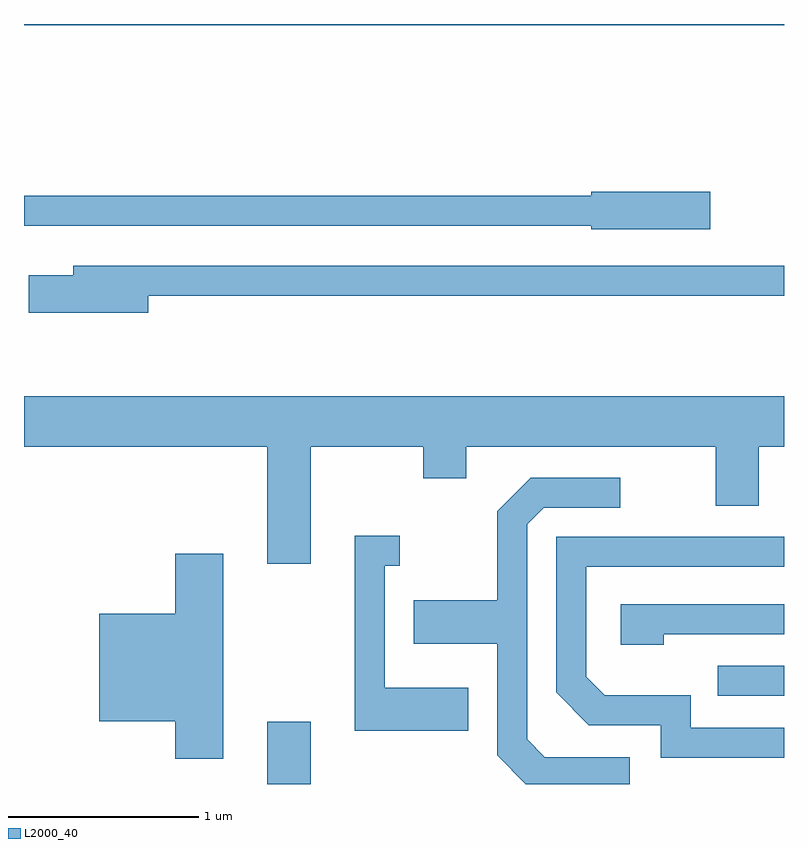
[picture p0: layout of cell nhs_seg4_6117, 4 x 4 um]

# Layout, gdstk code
import gdstk
lib = gdstk.Library(unit=1e-6, precision=1e-09)
def R(c, l, rs):  # rectangles x0, y0, x1, y1
    for r in rs: c.add(gdstk.rectangle(r[:2], r[2:], *l))
def P(c, l, *ps):  # polygons
    for p in ps: c.add(gdstk.Polygon(p, *l))
L2000_40 = (2000, 40)

nhs_seg4_6117 = lib.new_cell('nhs_seg4_6117')
R(nhs_seg4_6117, L2000_40, [(364.891,1383.982,365.119,1384.309), (367.263,1384.446,367.611,1384.604), (363.611,1387.976,367.611,1387.982)])
P(nhs_seg4_6117, L2000_40, [(367.224,1387.099),(366.596,1387.099),(366.596,1387.079),(363.611,1387.079),(363.611,1386.921),(366.596,1386.921),(366.596,1386.901),(367.224,1386.901)],
  [(364.264,1386.551),(367.611,1386.551),(367.611,1386.709),(363.871,1386.709),(363.871,1386.659),(363.636,1386.659),(363.636,1386.461),(364.264,1386.461)],
  [(365.119,1385.756),(365.711,1385.756),(365.711,1385.591),(365.939,1385.591),(365.939,1385.756),(367.251,1385.756),(367.251,1385.446),(367.479,1385.446),(367.479,1385.756),(367.611,1385.756),(367.611,1386.024),(363.611,1386.024),(363.611,1385.756),(364.891,1385.756),(364.891,1385.141),(365.119,1385.141)],
  [(366.798,1384.124),(366.352,1384.124),(366.259,1384.217),(366.259,1385.349),(366.347,1385.436),(366.748,1385.436),(366.748,1385.594),(366.279,1385.594),(366.101,1385.417),(366.101,1384.949),(365.661,1384.949),(365.661,1384.721),(366.101,1384.721),(366.101,1384.134),(366.253,1383.982),(366.798,1383.982)],
  [(365.949,1384.489),(365.509,1384.489),(365.509,1385.131),(365.588,1385.131),(365.588,1385.289),(365.351,1385.289),(365.351,1384.261),(365.949,1384.261)],
  [(367.611,1384.279),(367.119,1384.279),(367.119,1384.449),(366.667,1384.449),(366.569,1384.547),(366.569,1385.126),(367.611,1385.126),(367.611,1385.284),(366.411,1385.284),(366.411,1384.464),(366.584,1384.291),(366.961,1384.291),(366.961,1384.121),(367.611,1384.121)],
  [(364.659,1385.194),(364.406,1385.194),(364.406,1384.879),(364.006,1384.879),(364.006,1384.311),(364.406,1384.311),(364.406,1384.116),(364.659,1384.116)],
  [(366.979,1384.771),(367.611,1384.771),(367.611,1384.929),(366.751,1384.929),(366.751,1384.716),(366.979,1384.716)])

lib.write_gds('nhs_seg4_6117.gds')
